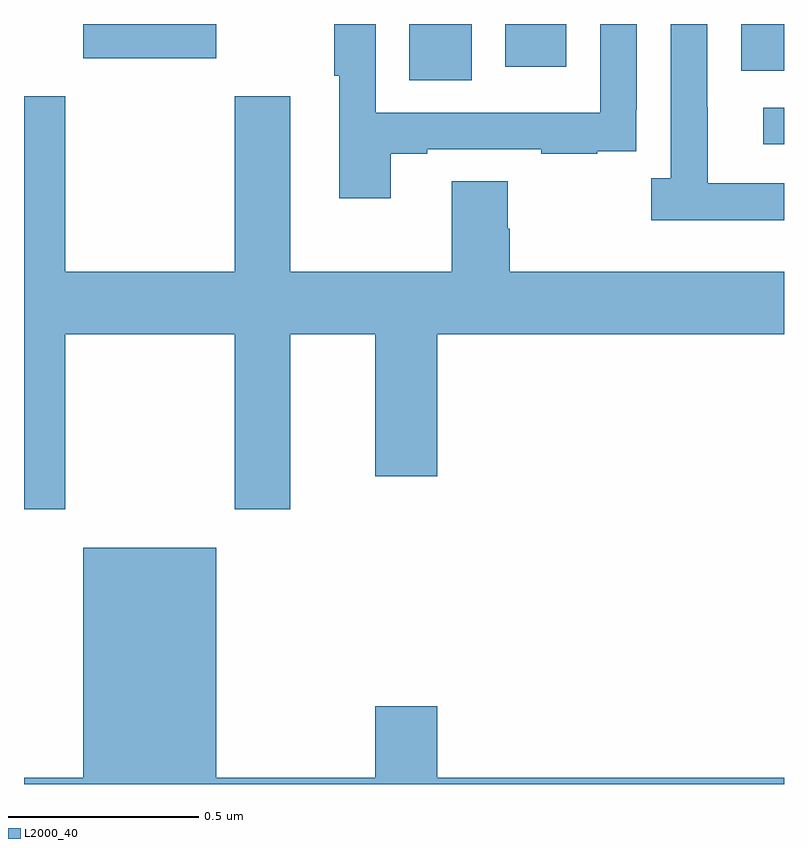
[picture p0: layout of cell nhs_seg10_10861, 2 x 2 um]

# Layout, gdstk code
import gdstk
lib = gdstk.Library(unit=1e-6, precision=1e-09)
def R(c, l, rs):  # rectangles x0, y0, x1, y1
    for r in rs: c.add(gdstk.rectangle(r[:2], r[2:], *l))
def P(c, l, *ps):  # polygons
    for p in ps: c.add(gdstk.Polygon(p, *l))
L2000_40 = (2000, 40)

nhs_seg10_10861 = lib.new_cell('nhs_seg10_10861')
R(nhs_seg10_10861, L2000_40, [(249.945,1266.183,250,1266.279), (249.014,1266.352,249.178,1266.5), (249.887,1266.377,250,1266.5), (249.266,1266.387,249.427,1266.5), (248.156,1266.41,248.506,1266.5)])
P(nhs_seg10_10861, L2000_40, [(250,1266.081),(249.799,1266.081),(249.799,1266.281),(249.798,1266.281),(249.798,1266.5),(249.702,1266.5),(249.702,1266.094),(249.651,1266.094),(249.651,1265.984),(250,1265.984)],
  [(248.965,1266.159),(249.061,1266.159),(249.061,1266.171),(249.361,1266.171),(249.361,1266.159),(249.509,1266.159),(249.509,1266.165),(249.611,1266.165),(249.611,1266.274),(249.612,1266.274),(249.612,1266.5),(249.516,1266.5),(249.516,1266.267),(248.925,1266.267),(248.925,1266.5),(248.817,1266.5),(248.817,1266.364),(248.829,1266.364),(248.829,1266.042),(248.965,1266.042)],
  [(248.109,1265.684),(248.554,1265.684),(248.554,1265.223),(248.701,1265.223),(248.701,1265.684),(248.924,1265.684),(248.924,1265.31),(249.088,1265.31),(249.088,1265.684),(250,1265.684),(250,1265.848),(249.278,1265.848),(249.278,1265.961),(249.273,1265.961),(249.273,1266.086),(249.125,1266.086),(249.125,1265.848),(248.701,1265.848),(248.701,1266.31),(248.554,1266.31),(248.554,1265.848),(248.109,1265.848),(248.109,1266.31),(248,1266.31),(248,1265.223),(248.109,1265.223)],
  [(250,1264.516),(249.088,1264.516),(249.088,1264.705),(248.924,1264.705),(248.924,1264.516),(248.506,1264.516),(248.506,1265.122),(248.156,1265.122),(248.156,1264.516),(248,1264.516),(248,1264.5),(250,1264.5)])

lib.write_gds('nhs_seg10_10861.gds')
